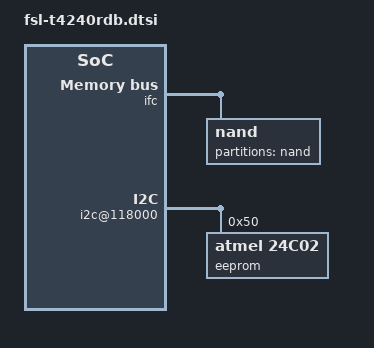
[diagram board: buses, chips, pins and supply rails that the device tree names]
/include/ "t4240rdb.dts"

/ {
	aliases {
        ethernet0 = "/soc@ffe000000/fman@400000/ethernet@e0000";
        ethernet1 = "/soc@ffe000000/fman@400000/ethernet@e2000";
        ethernet2 = "/soc@ffe000000/fman@400000/ethernet@e4000";
        ethernet3 = "/soc@ffe000000/fman@400000/ethernet@e6000";
        ethernet4 = "/soc@ffe000000/fman@500000/ethernet@f0000";
        ethernet5 = "/soc@ffe000000/fman@500000/ethernet@f2000";
        ethernet6 = "/soc@ffe000000/fman@500000/ethernet@e0000";
        ethernet7 = "/soc@ffe000000/fman@500000/ethernet@e2000";
        ethernet8 = "/soc@ffe000000/fman@500000/ethernet@e4000";
        ethernet9 = "/soc@ffe000000/fman@500000/ethernet@e6000";
        ethernet10 = "/soc@ffe000000/fman@400000/ethernet@f0000";
        ethernet11 = "/soc@ffe000000/fman@400000/ethernet@f2000";
	};
};

&ifc {
    nand@2,0 {
        partitions {
            compatible = "fixed-partitions";
            #address-cells = <1>;
            #size-cells = <1>;

            partition@0 {
                reg = <0x0 0x80000000>;
                label = "nand";
            };
        };
    };
};

&pci1 {
    status = "disabled";
};

&pci3 {
    status = "disabled";
};

&soc {
    i2c@118000 {
        eeprom@50 {
            compatible = "atmel,24c02";
            reg = <0x50>;
        };
    };

    sata@221000 {
        status = "disabled";
    };
};
